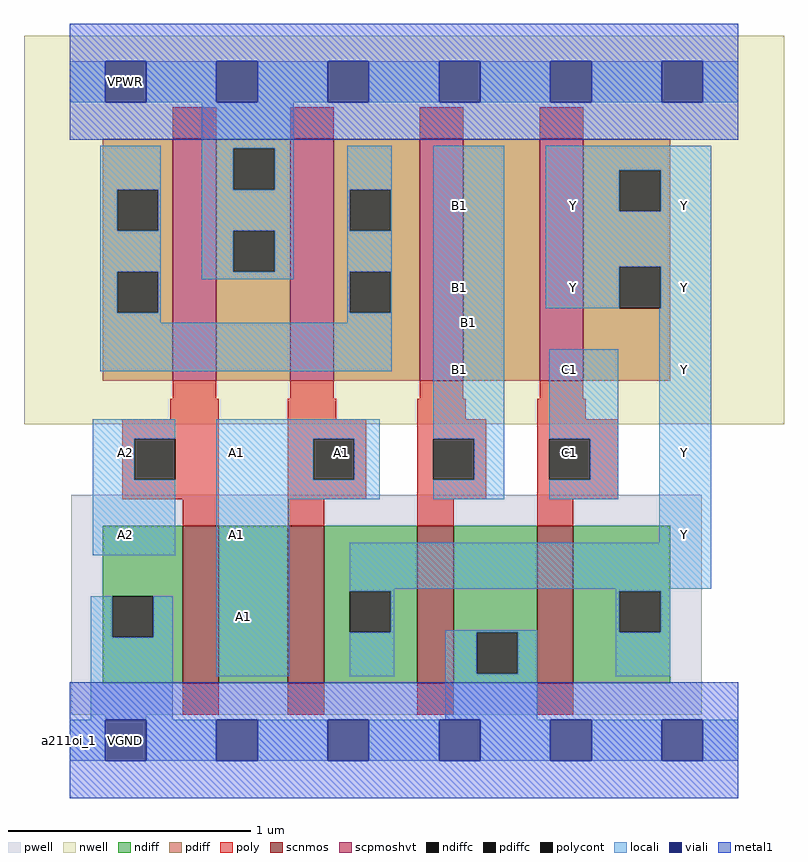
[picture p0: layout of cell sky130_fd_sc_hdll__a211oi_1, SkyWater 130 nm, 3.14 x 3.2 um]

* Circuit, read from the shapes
.subckt sky130_fd_sc_hdll__a211oi_1 A1 A2 B1 C1 VGND VNB VPB VPWR Y
XM1 n1 A2 VGND VNB sky130_fd_pr__nfet_01v8 w=0.65 l=0.15
XM2 Y A1 n1 VNB sky130_fd_pr__nfet_01v8 w=0.65 l=0.15
XM3 VGND B1 Y VNB sky130_fd_pr__nfet_01v8 w=0.65 l=0.15
XM4 Y C1 VGND VNB sky130_fd_pr__nfet_01v8 w=0.65 l=0.15
XM5 VPWR A2 n2 VPB sky130_fd_pr__pfet_01v8_hvt w=1 l=0.18
XM6 n2 A1 VPWR VPB sky130_fd_pr__pfet_01v8_hvt w=1 l=0.18
XM7 n3 B1 n2 VPB sky130_fd_pr__pfet_01v8_hvt w=1 l=0.18
XM8 Y C1 n3 VPB sky130_fd_pr__pfet_01v8_hvt w=1 l=0.18
.ends

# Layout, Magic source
magic
tech sky130A
magscale 1 2
<< nwell >>
rect -38 261 590 582
<< pwell >>
rect 1 21 522 203
rect 29 -17 63 21
<< scnmos >>
rect 93 47 123 177
rect 180 47 210 177
rect 287 47 317 177
rect 386 47 416 177
<< scpmoshvt >>
rect 85 297 121 497
rect 182 297 218 497
rect 289 297 325 497
rect 388 297 424 497
<< ndiff >>
rect 27 119 93 177
rect 27 85 35 119
rect 69 85 93 119
rect 27 47 93 85
rect 123 47 180 177
rect 210 123 287 177
rect 210 89 231 123
rect 265 89 287 123
rect 210 47 287 89
rect 317 89 386 177
rect 317 55 336 89
rect 370 55 386 89
rect 317 47 386 55
rect 416 123 496 177
rect 416 89 454 123
rect 488 89 496 123
rect 416 47 496 89
<< pdiff >>
rect 27 455 85 497
rect 27 421 39 455
rect 73 421 85 455
rect 27 387 85 421
rect 27 353 39 387
rect 73 353 85 387
rect 27 297 85 353
rect 121 489 182 497
rect 121 455 135 489
rect 169 455 182 489
rect 121 421 182 455
rect 121 387 135 421
rect 169 387 182 421
rect 121 297 182 387
rect 218 455 289 497
rect 218 421 231 455
rect 265 421 289 455
rect 218 387 289 421
rect 218 353 231 387
rect 265 353 289 387
rect 218 297 289 353
rect 325 297 388 497
rect 424 471 496 497
rect 424 437 454 471
rect 488 437 496 471
rect 424 391 496 437
rect 424 357 454 391
rect 488 357 496 391
rect 424 297 496 357
<< ndiffc >>
rect 35 85 69 119
rect 231 89 265 123
rect 336 55 370 89
rect 454 89 488 123
<< pdiffc >>
rect 39 421 73 455
rect 39 353 73 387
rect 135 455 169 489
rect 135 387 169 421
rect 231 421 265 455
rect 231 353 265 387
rect 454 437 488 471
rect 454 357 488 391
<< poly >>
rect 85 497 121 523
rect 182 497 218 523
rect 289 497 325 523
rect 388 497 424 523
rect 85 282 121 297
rect 182 282 218 297
rect 289 282 325 297
rect 388 282 424 297
rect 83 265 123 282
rect 43 249 123 265
rect 43 215 53 249
rect 87 215 123 249
rect 43 199 123 215
rect 93 177 123 199
rect 180 265 220 282
rect 287 265 327 282
rect 386 265 426 282
rect 180 249 245 265
rect 180 215 201 249
rect 235 215 245 249
rect 180 199 245 215
rect 287 249 344 265
rect 287 215 300 249
rect 334 215 344 249
rect 287 199 344 215
rect 386 249 453 265
rect 386 215 396 249
rect 430 215 453 249
rect 386 199 453 215
rect 180 177 210 199
rect 287 177 317 199
rect 386 177 416 199
rect 93 21 123 47
rect 180 21 210 47
rect 287 21 317 47
rect 386 21 416 47
<< polycont >>
rect 53 215 87 249
rect 201 215 235 249
rect 300 215 334 249
rect 396 215 430 249
<< locali >>
rect 0 527 29 561
rect 63 527 121 561
rect 155 527 213 561
rect 247 527 305 561
rect 339 527 397 561
rect 431 527 489 561
rect 523 527 552 561
rect 25 455 75 491
rect 25 421 39 455
rect 73 421 75 455
rect 25 387 75 421
rect 25 353 39 387
rect 73 353 75 387
rect 109 489 185 527
rect 109 455 135 489
rect 169 455 185 489
rect 109 421 185 455
rect 109 387 135 421
rect 169 387 185 421
rect 109 381 185 387
rect 229 455 266 491
rect 229 421 231 455
rect 265 421 266 455
rect 229 387 266 421
rect 25 345 75 353
rect 229 353 231 387
rect 265 353 266 387
rect 229 345 266 353
rect 25 305 266 345
rect 19 249 87 265
rect 19 215 53 249
rect 19 153 87 215
rect 121 249 256 265
rect 121 215 201 249
rect 235 215 256 249
rect 121 199 256 215
rect 300 249 359 491
rect 393 471 530 491
rect 393 437 454 471
rect 488 437 530 471
rect 393 391 530 437
rect 393 357 454 391
rect 488 357 530 391
rect 334 215 359 249
rect 300 199 359 215
rect 396 249 453 323
rect 430 215 453 249
rect 396 199 453 215
rect 17 85 35 119
rect 69 85 85 119
rect 17 17 85 85
rect 121 53 181 199
rect 487 163 530 357
rect 231 125 530 163
rect 231 123 268 125
rect 265 89 268 123
rect 451 123 496 125
rect 231 53 268 89
rect 310 89 386 91
rect 310 55 336 89
rect 370 55 386 89
rect 310 17 386 55
rect 451 89 454 123
rect 488 89 496 123
rect 451 53 496 89
rect 0 -17 29 17
rect 63 -17 121 17
rect 155 -17 213 17
rect 247 -17 305 17
rect 339 -17 397 17
rect 431 -17 489 17
rect 523 -17 552 17
<< viali >>
rect 29 527 63 561
rect 121 527 155 561
rect 213 527 247 561
rect 305 527 339 561
rect 397 527 431 561
rect 489 527 523 561
rect 29 -17 63 17
rect 121 -17 155 17
rect 213 -17 247 17
rect 305 -17 339 17
rect 397 -17 431 17
rect 489 -17 523 17
<< metal1 >>
rect 0 561 552 592
rect 0 527 29 561
rect 63 527 121 561
rect 155 527 213 561
rect 247 527 305 561
rect 339 527 397 561
rect 431 527 489 561
rect 523 527 552 561
rect 0 496 552 527
rect 0 17 552 48
rect 0 -17 29 17
rect 63 -17 121 17
rect 155 -17 213 17
rect 247 -17 305 17
rect 339 -17 397 17
rect 431 -17 489 17
rect 523 -17 552 17
rect 0 -48 552 -17
<< labels >>
flabel locali s 121 153 155 187 0 FreeSans 200 0 0 0 A1
port 1 nsew signal input
flabel locali s 396 221 430 255 0 FreeSans 200 0 0 0 C1
port 4 nsew signal input
flabel locali s 207 221 241 255 0 FreeSans 200 0 0 0 A1
port 1 nsew signal input
flabel locali s 300 199 359 491 0 FreeSans 200 0 0 0 B1
port 3 nsew signal input
flabel locali s 491 425 525 459 0 FreeSans 200 0 0 0 Y
port 9 nsew signal output
flabel locali s 491 357 525 391 0 FreeSans 200 0 0 0 Y
port 9 nsew signal output
flabel locali s 491 289 525 323 0 FreeSans 200 0 0 0 Y
port 9 nsew signal output
flabel locali s 491 221 525 255 0 FreeSans 200 0 0 0 Y
port 9 nsew signal output
flabel locali s 491 153 525 187 0 FreeSans 200 0 0 0 Y
port 9 nsew signal output
flabel locali s 399 425 433 459 0 FreeSans 200 0 0 0 Y
port 9 nsew signal output
flabel locali s 399 357 433 391 0 FreeSans 200 0 0 0 Y
port 9 nsew signal output
flabel locali s 29 221 63 255 0 FreeSans 200 0 0 0 A2
port 2 nsew signal input
flabel locali s 121 85 165 119 0 FreeSans 200 0 0 0 A1
port 1 nsew signal input
flabel locali s 29 153 63 187 0 FreeSans 200 0 0 0 A2
port 2 nsew signal input
flabel locali s 121 221 155 255 0 FreeSans 200 0 0 0 A1
port 1 nsew signal input
flabel locali s 322 306 322 306 0 FreeSans 200 0 0 0 B1
port 3 nsew
flabel locali s 322 374 322 374 0 FreeSans 200 0 0 0 B1
port 3 nsew
flabel locali s 322 442 322 442 0 FreeSans 200 0 0 0 B1
port 3 nsew
flabel locali s 396 289 430 323 0 FreeSans 200 0 0 0 C1
port 4 nsew signal input
flabel metal1 s 29 527 63 561 0 FreeSans 200 0 0 0 VPWR
port 8 nsew power bidirectional
flabel metal1 s 29 -17 63 17 0 FreeSans 200 0 0 0 VGND
port 5 nsew ground bidirectional
flabel nwell s 29 527 63 561 0 FreeSans 200 0 0 0 VPB
port 7 nsew power bidirectional
flabel pwell s 29 -17 63 17 0 FreeSans 200 0 0 0 VNB
port 6 nsew ground bidirectional
rlabel comment s 0 0 0 0 4 a211oi_1
<< properties >>
string LEFsite unithd
string LEFclass CORE
string FIXED_BBOX 0 0 552 544
string GDS_FILE $PDKPATH/libs.ref/sky130_fd_sc_hdll/gds/sky130_fd_sc_hdll.gds
string LEFsymmetry X Y R90
string GDS_END 304316
string GDS_START 297588
string LEFproperties maskLayoutSubType "abstract" prCellType "standard" originalViewName "layout"
<< end >>
